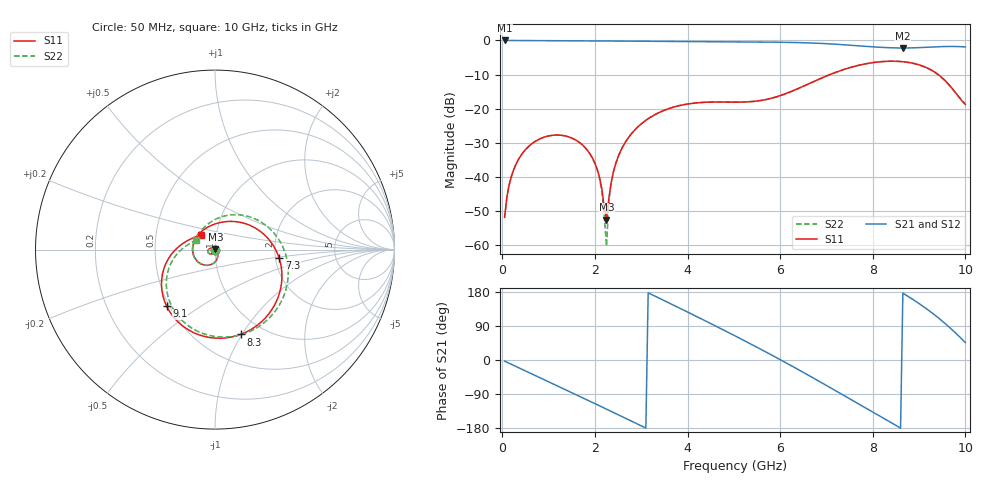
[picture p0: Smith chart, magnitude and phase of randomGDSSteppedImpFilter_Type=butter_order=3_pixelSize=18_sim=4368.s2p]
! freq	dB(S11)	phase(S11)	dB(S12)	phase(S12)
!  dB(S21)	phase(S21)	dB(S22)	phase(S22)
!S-par simulation data
#  GHz  S  DB  R 50
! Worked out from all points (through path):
!   200 points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, 50 MHz to 10 GHz, reference 50 ohm
!   highest |S21| = -0.01 dB at 50 MHz (marker M1); lowest = -2.2 dB at 8.65 GHz (marker M2)
!   group delay of S21, straight-line fit = 180 ps
!   lowest |S11| = -52.6 dB at 2.25 GHz (marker M3), VSWR 1.00, Z = 50.2 + j0.141 ohm
!   |S11| at or under -10 dB: start of sweep to 7.076 GHz; 9.412 GHz to end of sweep
!   |S22| runs from -60.3 to -6.1 dB; largest |S21 - S12| = 0
!   S11 on the Smith chart (normalised r, x): 50 MHz: 1.00, -0.01; 7.3 GHz: 2.10, -0.23; 8.3 GHz: 0.79, -0.99; 9.1 GHz: 0.48, -0.37; 10 GHz: 0.84, +0.14
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0.05  -51.88 -89.9  -0.01 -2.9  -0.01 -2.9  -51.91 -89.7
0.2  -39.71 -99.3  -0.02 -11.6  -0.02 -11.6  -39.71 -99.1
0.55  -31.33 -121.1  -0.04 -31.7  -0.04 -31.7  -31.35 -120.7
1.15  -27.75 -157.6  -0.09 -66.1  -0.09 -66.1  -27.77 -156.6
1.75  -30.88 165.4  -0.12 -100.6  -0.12 -100.6  -30.93 168.2
2.1  -40.18 136.5  -0.14 -120.9  -0.14 -120.9  -40.49 146.5
2.25  -52.59 36.7  -0.15 -129.7  -0.15 -129.7  -60.34 18.9
2.3  -46.53 -15.6  -0.16 -132.6  -0.16 -132.6  -47.22 -38.2
2.35  -41.75 -30.8  -0.16 -135.5  -0.16 -135.5  -41.88 -43.4
2.5  -34.18 -48.5  -0.18 -144.3  -0.18 -144.3  -34.16 -53.6
3.4  -21.07 -107.2  -0.28 162.5  -0.28 162.5  -21.05 -106.7
4.3  -18.20 -163.7  -0.38 108.5  -0.38 108.5  -18.18 -158.9
5.05  -18.10 145.5  -0.43 62.2  -0.43 62.2  -18.08 157.7
5.9  -16.61 84.7  -0.51 7.6  -0.51 7.6  -16.67 106.4
6.7  -12.20 31.5  -0.76 -46.4  -0.76 -46.4  -12.25 51.9
7.3  -8.86 -7.5  -1.20 -88.2  -1.20 -88.2  -8.88 9.0
8.3  -6.13 -73.2  -2.11 -158.2  -2.11 -158.2  -6.12 -61.9
8.35  -6.11 -76.6  -2.13 -161.8  -2.13 -161.8  -6.10 -65.5
8.65  -6.24 -97.1  -2.21 176.4  -2.21 176.4  -6.24 -87.2
9.1  -7.64 -130.4  -2.05 140.5  -2.05 140.5  -7.66 -122.3
9.6  -12.29 -174.2  -1.77 92.3  -1.77 92.3  -12.39 -166.8
10  -18.77 133.8  -1.91 45.9  -1.91 45.9  -18.58 152.4
